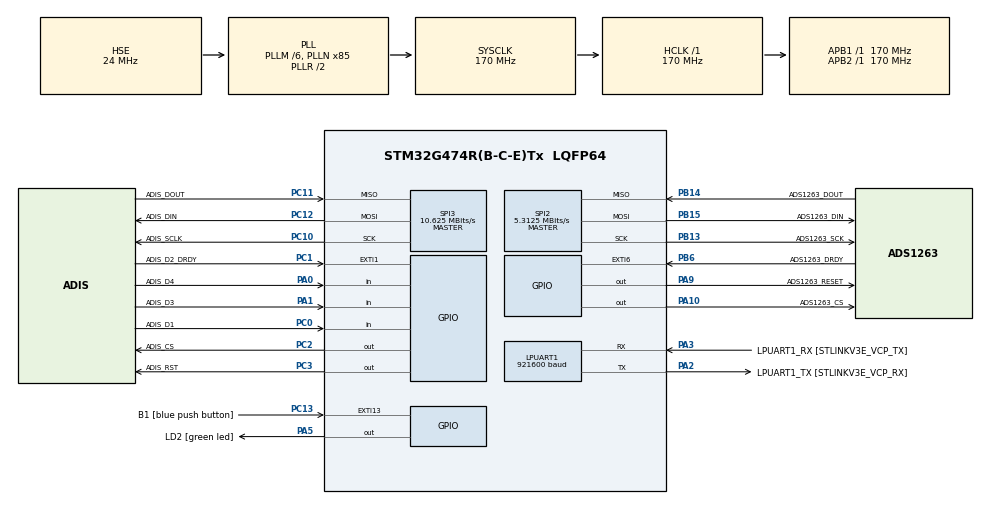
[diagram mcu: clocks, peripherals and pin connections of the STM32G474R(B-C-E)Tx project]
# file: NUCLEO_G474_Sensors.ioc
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Dma.LPUART1_TX.0.Direction=DMA_MEMORY_TO_PERIPH
Dma.LPUART1_TX.0.EventEnable=DISABLE
Dma.LPUART1_TX.0.Instance=DMA1_Channel1
Dma.LPUART1_TX.0.MemDataAlignment=DMA_MDATAALIGN_BYTE
Dma.LPUART1_TX.0.MemInc=DMA_MINC_ENABLE
Dma.LPUART1_TX.0.Mode=DMA_NORMAL
Dma.LPUART1_TX.0.PeriphDataAlignment=DMA_PDATAALIGN_BYTE
Dma.LPUART1_TX.0.PeriphInc=DMA_PINC_DISABLE
Dma.LPUART1_TX.0.Polarity=HAL_DMAMUX_REQ_GEN_RISING
Dma.LPUART1_TX.0.Priority=DMA_PRIORITY_LOW
Dma.LPUART1_TX.0.RequestNumber=1
Dma.LPUART1_TX.0.SignalID=NONE
Dma.LPUART1_TX.0.SyncEnable=DISABLE
Dma.LPUART1_TX.0.SyncPolarity=HAL_DMAMUX_SYNC_NO_EVENT
Dma.LPUART1_TX.0.SyncRequestNumber=1
Dma.LPUART1_TX.0.SyncSignalID=NONE
Dma.Request0=LPUART1_TX
LPUART1.BaudRate=921600
LPUART1.WordLength=UART_WORDLENGTH_8B
Mcu.Family=STM32G4
Mcu.Name=STM32G474R(B-C-E)Tx
Mcu.Package=LQFP64
NVIC.DMA1_Channel1_IRQn=true\:10\:0\:true\:false\:true\:false\:true
NVIC.EXTI15_10_IRQn=true\:5\:0\:true\:false\:true\:true\:true
NVIC.EXTI1_IRQn=true\:3\:0\:true\:false\:true\:true\:true
NVIC.EXTI9_5_IRQn=true\:6\:0\:true\:false\:true\:true\:true
NVIC.LPUART1_IRQn=true\:9\:0\:true\:false\:true\:true\:true
NVIC.PriorityGroup=NVIC_PRIORITYGROUP_4
PA0.GPIO_Label=ADIS_D4
PA0.Signal=GPIO_Input
PA1.GPIO_Label=ADIS_D3
PA1.Signal=GPIO_Input
PA10.GPIO_Label=ADS1263_CS
PA10.GPIO_PuPd=GPIO_PULLUP
PA10.GPIO_Speed=GPIO_SPEED_FREQ_MEDIUM
PA10.PinState=GPIO_PIN_SET
PA10.Signal=GPIO_Output
PA13.GPIO_Label=T_SWDIO
PA13.Mode=Serial_Wire
PA13.Signal=SYS_JTMS-SWDIO
PA14.GPIO_Label=T_SWCLK
PA14.Mode=Serial_Wire
PA14.Signal=SYS_JTCK-SWCLK
PA2.GPIO_Label=LPUART1_TX [STLINKV3E_VCP_RX]
PA2.GPIO_Speed=GPIO_SPEED_FREQ_MEDIUM
PA2.Mode=Asynchronous
PA2.Signal=LPUART1_TX
PA3.GPIO_Label=LPUART1_RX [STLINKV3E_VCP_TX]
PA3.GPIO_Speed=GPIO_SPEED_FREQ_MEDIUM
PA3.Mode=Asynchronous
PA3.Signal=LPUART1_RX
PA5.GPIO_Label=LD2 [green led]
PA5.Signal=GPIO_Output
PA9.GPIO_Label=ADS1263_RESET
PA9.GPIO_PuPd=GPIO_PULLUP
PA9.GPIO_Speed=GPIO_SPEED_FREQ_MEDIUM
PA9.PinState=GPIO_PIN_SET
PA9.Signal=GPIO_Output
PB13.GPIO_Label=ADS1263_SCK
PB13.GPIO_PuPd=GPIO_PULLUP
PB13.GPIO_Speed=GPIO_SPEED_FREQ_HIGH
PB13.Mode=Full_Duplex_Master
PB13.Signal=SPI2_SCK
PB14.GPIO_Label=ADS1263_DOUT
PB14.GPIO_PuPd=GPIO_PULLUP
PB14.GPIO_Speed=GPIO_SPEED_FREQ_HIGH
PB14.Mode=Full_Duplex_Master
PB14.Signal=SPI2_MISO
PB15.GPIO_Label=ADS1263_DIN
PB15.GPIO_PuPd=GPIO_PULLUP
PB15.GPIO_Speed=GPIO_SPEED_FREQ_HIGH
PB15.Mode=Full_Duplex_Master
PB15.Signal=SPI2_MOSI
PB3.GPIO_Label=T_SWO
PB3.Signal=SYS_JTDO-SWO
PB6.GPIO_Label=ADS1263_DRDY
PB6.GPIO_ModeDefaultEXTI=GPIO_MODE_IT_FALLING
PB6.GPIO_PuPd=GPIO_PULLUP
PB6.Signal=GPXTI6
PC0.GPIO_Label=ADIS_D1
PC0.Signal=GPIO_Input
PC1.GPIO_Label=ADIS_D2_DRDY
PC1.GPIO_PuPd=GPIO_PULLDOWN
PC1.Signal=GPXTI1
PC10.GPIO_Label=ADIS_SCLK
PC10.GPIO_PuPd=GPIO_PULLUP
PC10.GPIO_Speed=GPIO_SPEED_FREQ_HIGH
PC10.Mode=Full_Duplex_Master
PC10.Signal=SPI3_SCK
PC11.GPIO_Label=ADIS_DOUT
PC11.GPIO_PuPd=GPIO_PULLUP
PC11.GPIO_Speed=GPIO_SPEED_FREQ_HIGH
PC11.Mode=Full_Duplex_Master
PC11.Signal=SPI3_MISO
PC12.GPIO_Label=ADIS_DIN
PC12.GPIO_PuPd=GPIO_PULLUP
PC12.GPIO_Speed=GPIO_SPEED_FREQ_HIGH
PC12.Mode=Full_Duplex_Master
PC12.Signal=SPI3_MOSI
PC13.GPIO_Label=B1 [blue push button]
PC13.Signal=GPXTI13
PC14-OSC32_IN.Mode=LSE-External-Oscillator
PC14-OSC32_IN.Signal=RCC_OSC32_IN
PC15-OSC32_OUT.Mode=LSE-External-Oscillator
PC15-OSC32_OUT.Signal=RCC_OSC32_OUT
PC2.GPIO_Label=ADIS_CS
PC2.GPIO_PuPd=GPIO_PULLUP
PC2.GPIO_Speed=GPIO_SPEED_FREQ_MEDIUM
PC2.PinState=GPIO_PIN_SET
PC2.Signal=GPIO_Output
PC3.GPIO_Label=ADIS_RST
PC3.GPIO_PuPd=GPIO_PULLUP
PC3.GPIO_Speed=GPIO_SPEED_FREQ_MEDIUM
PC3.PinState=GPIO_PIN_SET
PC3.Signal=GPIO_Output
PF0-OSC_IN.Mode=HSE-External-Oscillator
PF0-OSC_IN.Signal=RCC_OSC_IN
PF1-OSC_OUT.Mode=HSE-External-Oscillator
PF1-OSC_OUT.Signal=RCC_OSC_OUT
ProjectManager.HeapSize=0x200
ProjectManager.StackSize=0x400
ProjectManager.TargetToolchain=STM32CubeIDE
RCC.ADC12Freq_Value=170000000
RCC.ADC345Freq_Value=170000000
RCC.AHBFreq_Value=170000000
RCC.APB1Freq_Value=170000000
RCC.APB1TimFreq_Value=170000000
RCC.APB2Freq_Value=170000000
RCC.APB2TimFreq_Value=170000000
RCC.CortexFreq_Value=170000000
RCC.DATA_CACHE_ENABLE=0
RCC.EXTERNAL_CLOCK_VALUE=12288000
RCC.HCLKFreq_Value=170000000
RCC.HSE_VALUE=24000000
RCC.HSI48_VALUE=48000000
RCC.HSI_VALUE=16000000
RCC.PLLM=RCC_PLLM_DIV6
RCC.PLLN=85
RCC.PLLSourceVirtual=RCC_PLLSOURCE_HSE
RCC.RTCClockSelection=RCC_RTCCLKSOURCE_LSE
RCC.SYSCLKFreq_VALUE=170000000
RCC.SYSCLKSource=RCC_SYSCLKSOURCE_PLLCLK
RCC.USBFreq_Value=170000000
RCC.VCOOutputFreq_Value=340000000
SPI2.BaudRatePrescaler=SPI_BAUDRATEPRESCALER_32
SPI2.CLKPhase=SPI_PHASE_2EDGE
SPI2.CalculateBaudRate=5.3125 MBits/s
SPI2.DataSize=SPI_DATASIZE_8BIT
SPI2.Direction=SPI_DIRECTION_2LINES
SPI2.Mode=SPI_MODE_MASTER
SPI2.VirtualType=VM_MASTER
SPI3.BaudRatePrescaler=SPI_BAUDRATEPRESCALER_16
SPI3.CLKPhase=SPI_PHASE_2EDGE
SPI3.CLKPolarity=SPI_POLARITY_HIGH
SPI3.CalculateBaudRate=10.625 MBits/s
SPI3.DataSize=SPI_DATASIZE_16BIT
SPI3.Direction=SPI_DIRECTION_2LINES
SPI3.Mode=SPI_MODE_MASTER
SPI3.VirtualType=VM_MASTER
TIM16.Prescaler=169
VP_SYS_VS_DBSignals.Mode=DisableDeadBatterySignals
VP_TIM16_VS_ClockSourceINT.Mode=Enable_Timer
board=NUCLEO-G474RE

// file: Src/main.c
/* USER CODE BEGIN Header */
/**
  ******************************************************************************
  * @file           : main.c
  * @brief          : Main program body
  ******************************************************************************
  * @attention
  *
  * <h2><center>&copy; Copyright (c) 2021 STMicroelectronics.
  * All rights reserved.</center></h2>
  *
  * This software component is licensed by ST under BSD 3-Clause license,
  * the "License"; You may not use this file except in compliance with the
  * License. You may obtain a copy of the License at:
  *                        opensource.org/licenses/BSD-3-Clause
  *
  ******************************************************************************
  */
/* USER CODE END Header */
#include "main.h"
#include "dma.h"
#include "usart.h"
#include "spi.h"
#include "tim.h"
#include "gpio.h"

/* USER CODE BEGIN Includes */
#include "packet.h"
#include "string.h"
#include "ADIS16485.h"
#include "ADS126x.h"
#include "ADIS16505.h"
#include "utils.h"
/* USER CODE END Includes */

/* USER CODE BEGIN PV */
ADIS_DATA_Type imu_data;

uint8_t UART_buffer[128] = {0,};
uint8_t UART_buffer_shadow[128] = {0,};
uint8_t UART_empty = 1;
uint16_t UART_buffer_len = 0;

__IO uint8_t adis_ready = 0;
uint32_t t0, t1;

ADS126xData adc_result;
uint8_t ADS126x_Init_Done = 0;

float ADS126xVolt[20] = {0.0f,};
uint8_t ADS126xCnt = 0;

/* USER CODE END PV */

void SystemClock_Config(void);

/* USER CODE BEGIN 0 */
void HAL_UART_TxCpltCallback(UART_HandleTypeDef *huart) {
	UART_empty = 1;
}

void Transmit_UART(uint8_t* data, uint16_t size) {
	if (UART_empty ==1) {
		memcpy(UART_buffer_shadow, (uint8_t*)data, size);
		HAL_UART_Transmit_DMA(&hlpuart1, UART_buffer_shadow, size);
		UART_empty = 0;
	}
}

void HAL_GPIO_EXTI_Callback(uint16_t GPIO_Pin) {
    if (GPIO_Pin == ADIS_D2_DRDY_Pin) {
        adis_ready = 1;
    } else if (GPIO_Pin == ADS1263_DRDY_Pin && ADS126x_Init_Done == 1) {
    	ADS126x_Ready_flag = 1;
    }
}

float mean_val(float* arr, uint8_t len) {
	float sum = 0.0f;
	for (uint8_t i = 0; i < len; i++) {
		sum += arr[i];
	}
	return sum/(float)len;
}

/* USER CODE END 0 */

int main(void)
{
  /* USER CODE BEGIN 1 */
	uint16_t test;
	uint16_t t00, t11, t000, t111;

  /* USER CODE END 1 */

  /* MCU Configuration--------------------------------------------------------*/

  /* Reset of all peripherals, Initializes the Flash interface and the Systick. */
  HAL_Init();

  /* Configure the system clock */
  SystemClock_Config();

  /* Initialize all configured peripherals */
  MX_GPIO_Init();
  MX_DMA_Init();
  MX_LPUART1_UART_Init();
  MX_SPI2_Init();
  MX_SPI3_Init();
  MX_TIM16_Init();
  /* USER CODE BEGIN 2 */
  HAL_TIM_Base_Start(&htim16);
//  config_adis();
//  change_page(0);
//  test = read_adis_reg(PROD_ID);
//  test = read_adis_reg(PROD_ID);
//  test = read_adis_reg(PROD_ID);
//  test = read_adis_reg(PROD_ID);
  	  	  HAL_GPIO_WritePin(ADIS_RST_GPIO_Port, ADIS_RST_Pin, GPIO_PIN_RESET);
		HAL_Delay(5);
		HAL_GPIO_WritePin(ADIS_RST_GPIO_Port, ADIS_RST_Pin, GPIO_PIN_SET);
		HAL_Delay(500);
		write_ADIS(0x60, 0x03D1);
		write_ADIS(0x64, 0x13); // say ADIS to tent data with 100 Hz. Result: 2000Hz/(19+1)
  ADS126xInitADC1();
  ADS126x_Init_Done = 1;
  imu_data.adc[1] = 0.0f;
  imu_data.adc[2] = 0.0f;
  start_single_convert(0);
  ADS126xCnt = 1;

  /* USER CODE END 2 */

  /* Infinite loop */
  while (1)
  {

    /* USER CODE BEGIN 3 */
	  if (check_conv_complete(&adc_result) == 0){
		  ADS126xVolt[ADS126xCnt] = (float)adc_result.Value / 2147483648.0f * 2.5f;
		  ADS126xCnt++;
		  start_single_convert(0);
	  }
      if (adis_ready == 1) {
    	  t000 = get_tick_us(&htim16);
    	  if (ADS126xCnt == 0) {
    		  start_single_convert(0);
    	  }
    	  imu_data.adc[0] = mean_val(ADS126xVolt, ADS126xCnt);
    	  ADS126xCnt = 0;
          adis_ready = 0;
//          read_adis_data(&imu_data);
          burst_read_ADIS(&imu_data);
          t00 = get_tick_us(&htim16);
          t11 = get_tick_us(&htim16) - t00;
          //imu_data.rate[0] = 0.0f;
          //imu_data.rate[1] = 100.0f / 3600.0f * 3.141926f / 180.0f * 0.01f;
          //imu_data.rate[2] = 0.0f;
          UART_buffer_len = pack_ADIS_data(&imu_data, UART_buffer);
          Transmit_UART(UART_buffer, UART_buffer_len);
          t1 = t0;
          t0 = HAL_GetTick();
          t111 = get_tick_us(&htim16) - t000;
       //   HAL_Delay(10);
      }
  }
  /* USER CODE END 3 */
}

void SystemClock_Config(void)
{
  RCC_OscInitTypeDef RCC_OscInitStruct = {0};
  RCC_ClkInitTypeDef RCC_ClkInitStruct = {0};
  RCC_PeriphCLKInitTypeDef PeriphClkInit = {0};

  /** Configure the main internal regulator output voltage
  */
  HAL_PWREx_ControlVoltageScaling(PWR_REGULATOR_VOLTAGE_SCALE1_BOOST);
  /** Initializes the RCC Oscillators according to the specified parameters
  * in the RCC_OscInitTypeDef structure.
  */
  RCC_OscInitStruct.OscillatorType = RCC_OSCILLATORTYPE_HSE;
  RCC_OscInitStruct.HSEState = RCC_HSE_ON;
  RCC_OscInitStruct.PLL.PLLState = RCC_PLL_ON;
  RCC_OscInitStruct.PLL.PLLSource = RCC_PLLSOURCE_HSE;
  RCC_OscInitStruct.PLL.PLLM = RCC_PLLM_DIV6;
  RCC_OscInitStruct.PLL.PLLN = 85;
  RCC_OscInitStruct.PLL.PLLP = RCC_PLLP_DIV2;
  RCC_OscInitStruct.PLL.PLLQ = RCC_PLLQ_DIV2;
  RCC_OscInitStruct.PLL.PLLR = RCC_PLLR_DIV2;
  if (HAL_RCC_OscConfig(&RCC_OscInitStruct) != HAL_OK)
  {
    Error_Handler();
  }
  /** Initializes the CPU, AHB and APB buses clocks
  */
  RCC_ClkInitStruct.ClockType = RCC_CLOCKTYPE_HCLK|RCC_CLOCKTYPE_SYSCLK
                              |RCC_CLOCKTYPE_PCLK1|RCC_CLOCKTYPE_PCLK2;
  RCC_ClkInitStruct.SYSCLKSource = RCC_SYSCLKSOURCE_PLLCLK;
  RCC_ClkInitStruct.AHBCLKDivider = RCC_SYSCLK_DIV1;
  RCC_ClkInitStruct.APB1CLKDivider = RCC_HCLK_DIV1;
  RCC_ClkInitStruct.APB2CLKDivider = RCC_HCLK_DIV1;

  if (HAL_RCC_ClockConfig(&RCC_ClkInitStruct, FLASH_LATENCY_4) != HAL_OK)
  {
    Error_Handler();
  }
  /** Initializes the peripherals clocks
  */
  PeriphClkInit.PeriphClockSelection = RCC_PERIPHCLK_LPUART1;
  PeriphClkInit.Lpuart1ClockSelection = RCC_LPUART1CLKSOURCE_PCLK1;
  if (HAL_RCCEx_PeriphCLKConfig(&PeriphClkInit) != HAL_OK)
  {
    Error_Handler();
  }
}

void Error_Handler(void)
{
  __disable_irq();
  while (1)
  {
  }
}

/************************ (C) COPYRIGHT STMicroelectronics *****END OF FILE****/
